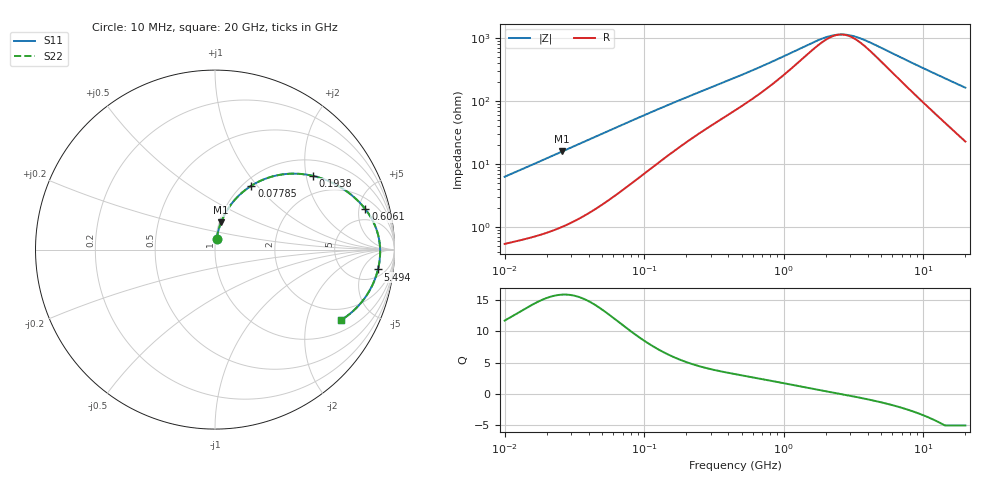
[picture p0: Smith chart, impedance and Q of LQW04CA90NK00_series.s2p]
!Murata Part Number: LQW04CA90NK00
!These Parameters are Measured in Series Mode Connection
!  o--[Z]--o
!Port1  Port2
!  o-------o
!Freq. Start=10[MHz] Stop=20[GHz], 401[Steps]
# Hz S RI R 50
!Freq.(Hz) S11(Real) S11(Imag) S21(Real) S21(Imag) S12(Real) S12(Imag) S22(Real) S22(Imag)
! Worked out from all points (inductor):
!   401 points, 10 MHz to 20 GHz, reference 50 ohm
!   read as one part in series: L = 98.5 nH near 10.39 MHz
!   highest Q = 15.8 at 25.86 MHz (marker M1), where L = 97.3 nH
!   self-resonance near 2.559 GHz
!   S11 on the Smith chart (normalised r, x): 10 MHz: 1.01, +0.12; 77.85 MHz: 1.09, +0.93; 193.8 MHz: 1.42, +2.19; 606.1 MHz: 3.23, +5.87; 5.494 GHz: 8, -11; 20 GHz: 1.46, -3.25
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1e7  0.00914 0.0615  0.9909 -0.0615  0.9909 -0.0615  0.00914 0.0615
1.638955e7  0.0168 0.0985  0.9832 -0.0985  0.9832 -0.0985  0.0168 0.0985
2.586001e7  0.0336 0.1512  0.9664 -0.1512  0.9664 -0.1512  0.0336 0.1512
3.572091e7  0.0574 0.2021  0.9426 -0.2021  0.9426 -0.2021  0.0574 0.2021
5.425992e7  0.1156 0.2831  0.8844 -0.2831  0.8844 -0.2831  0.1156 0.2831
7.785349e7  0.2028 0.356  0.7972 -0.356  0.7972 -0.356  0.2028 0.356
1.275983e8  0.3794 0.4194  0.6206 -0.4194  0.6206 -0.4194  0.3794 0.4194
1.938214e8  0.5452 0.4109  0.4548 -0.4109  0.4548 -0.4109  0.5452 0.4109
2.944139e8  0.6847 0.356  0.3153 -0.356  0.3153 -0.356  0.6847 0.356
4.472136e8  0.7864 0.2813  0.2136 -0.2813  0.2136 -0.2813  0.7864 0.2813
6.061166e8  0.8385 0.2242  0.1615 -0.2242  0.1615 -0.2242  0.8385 0.2242
9.383512e8  0.8861 0.1459  0.1139 -0.1459  0.1139 -0.1459  0.8861 0.1459
1.597488e9  0.913 0.0638  0.087 -0.0638  0.087 -0.0638  0.913 0.0638
2.165104e9  0.9188 0.0222  0.0812 -0.0222  0.0812 -0.0222  0.9188 0.0222
2.473129e9  0.9199 0.00451  0.0801 -0.00451  0.0801 -0.00451  0.9199 0.00451
2.771802e9  0.9202 -0.0106  0.0798 0.0106  0.0798 0.0106  0.9202 -0.0106
3.616581e9  0.9186 -0.0469  0.0814 0.0469  0.0814 0.0469  0.9186 -0.0469
5.493573e9  0.908 -0.1105  0.092 0.1105  0.092 0.1105  0.908 -0.1105
5.706372e9  0.9064 -0.1169  0.0936 0.1169  0.0936 0.1169  0.9064 -0.1169
1.130974e10  0.8439 -0.2564  0.1561 0.2564  0.1561 0.2564  0.8439 -0.2564
1.475668e10  0.7917 -0.3209  0.2083 0.3209  0.2083 0.3209  0.7917 -0.3209
2e10  0.7035 -0.3919  0.2965 0.3919  0.2965 0.3919  0.7035 -0.3919
